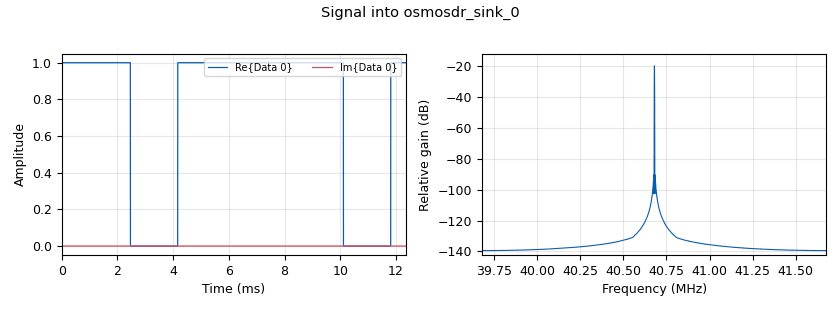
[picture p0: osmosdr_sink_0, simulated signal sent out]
<?xml version='1.0' encoding='utf-8'?>
<?grc format='1' created='3.7.11'?>
<flow_graph>
<block>
<key>options</key>
<param><key>id</key><value>top_block</value></param>
<param><key>category</key><value>Custom</value></param>
<param><key>generate_options</key><value>wx_gui</value></param>
</block>
<block>
<key>variable</key>
<param><key>id</key><value>Vector_Value</value></param>
<param><key>comment</key><value>Stop</value></param>
<param><key>value</key><value>1,0,0</value></param>
</block>
<block>
<key>variable</key>
<param><key>id</key><value>Vector_Value</value></param>
<param><key>comment</key><value>Stop, Light</value></param>
<param><key>_enabled</key><value>0</value></param>
<param><key>value</key><value>1,1,1,0,0</value></param>
</block>
<block>
<key>variable</key>
<param><key>id</key><value>Vector_Value</value></param>
<param><key>comment</key><value>Stop, Buzzer</value></param>
<param><key>_enabled</key><value>0</value></param>
<param><key>value</key><value>1,1,1,1,1,0,0</value></param>
</block>
<block>
<key>variable</key>
<param><key>id</key><value>Vector_Value</value></param>
<param><key>comment</key><value>Fwd Slow, Buzzer</value></param>
<param><key>_enabled</key><value>0</value></param>
<param><key>value</key><value>1,1,1,1,1,1,1,1,1,1,1,0,0</value></param>
</block>
<block>
<key>variable</key>
<param><key>id</key><value>Vector_Value</value></param>
<param><key>comment</key><value>Fwd Slow, Light</value></param>
<param><key>_enabled</key><value>0</value></param>
<param><key>value</key><value>1,1,1,1,1,1,1,1,1,0,0</value></param>
</block>
<block>
<key>variable</key>
<param><key>id</key><value>Vector_Value</value></param>
<param><key>comment</key><value>Fwd Slow</value></param>
<param><key>_enabled</key><value>0</value></param>
<param><key>value</key><value>1,1,1,1,1,1,1,0,0</value></param>
</block>
<block>
<key>variable</key>
<param><key>id</key><value>Vector_Value</value></param>
<param><key>comment</key><value>Fwd Fast</value></param>
<param><key>_enabled</key><value>0</value></param>
<param><key>value</key><value>1,1,1,1,1,1,1,1,1,1,1,1,1,0,0</value></param>
</block>
<block>
<key>variable</key>
<param><key>id</key><value>Vector_Value</value></param>
<param><key>comment</key><value>Fwd Fast, Light</value></param>
<param><key>_enabled</key><value>0</value></param>
<param><key>value</key><value>1,1,1,1,1,1,1,1,1,1,1,1,1,1,1,0,0</value></param>
</block>
<block>
<key>variable</key>
<param><key>id</key><value>Vector_Value</value></param>
<param><key>comment</key><value>Fwd Fast, Buzzer</value></param>
<param><key>_enabled</key><value>0</value></param>
<param><key>value</key><value>1,1,1,1,1,1,1,1,1,1,1,1,1,1,1,1,1,0,0</value></param>
</block>
<block>
<key>variable</key>
<param><key>id</key><value>Vector_Value</value></param>
<param><key>comment</key><value>Back</value></param>
<param><key>_enabled</key><value>0</value></param>
<param><key>value</key><value>1,1,1,1,1,1,1,1,1,1,1,1,1,1,1,1,1,1,1,0,0</value></param>
</block>
<block>
<key>variable</key>
<param><key>id</key><value>Vector_Value</value></param>
<param><key>comment</key><value>Back, Buzzer</value></param>
<param><key>_enabled</key><value>0</value></param>
<param><key>value</key><value>1,1,1,1,1,1,1,1,1,1,1,1,1,1,1,1,1,1,1,1,1,1,1,0,0</value></param>
</block>
<block>
<key>variable</key>
<param><key>id</key><value>Vector_Value</value></param>
<param><key>comment</key><value>Back, Light</value></param>
<param><key>_enabled</key><value>0</value></param>
<param><key>value</key><value>1,1,1,1,1,1,1,1,1,1,1,1,1,1,1,1,1,1,1,1,1,0,0</value></param>
</block>
<block>
<key>variable</key>
<param><key>id</key><value>symbol_duration</value></param>
<param><key>value</key><value>0.00085</value></param>
</block>
<block>
<key>variable</key>
<param><key>id</key><value>target_freq</value></param>
<param><key>value</key><value>40.68e6</value></param>
</block>
<block>
<key>variable</key>
<param><key>id</key><value>target_rate</value></param>
<param><key>value</key><value>2000000</value></param>
</block>
<block>
<key>variable_text_box</key>
<param><key>id</key><value>variable_tb0</value></param>
<param><key>converver</key><value>float_converter</value></param>
<param><key>value</key><value>1,1,1,1,1,1,1,0,0</value></param>
<param><key>formatter</key><value>None</value></param>
<param><key>label</key><value></value></param>
</block>
<block>
<key>blocks_float_to_complex</key>
<param><key>id</key><value>blocks_float_to_complex_1</value></param>
</block>
<block>
<key>blocks_multiply_const_vxx</key>
<param><key>id</key><value>blocks_multiply_const_vxx_1</value></param>
<param><key>const</key><value>1</value></param>
<param><key>type</key><value>complex</value></param>
</block>
<block>
<key>blocks_repeat</key>
<param><key>id</key><value>blocks_repeat_0</value></param>
<param><key>interp</key><value>int(target_rate*symbol_duration)</value></param>
<param><key>type</key><value>float</value></param>
</block>
<block>
<key>blocks_throttle</key>
<param><key>id</key><value>blocks_throttle_0</value></param>
<param><key>samples_per_second</key><value>target_rate</value></param>
<param><key>type</key><value>complex</value></param>
</block>
<block>
<key>blocks_vector_source_x</key>
<param><key>id</key><value>blocks_vector_source_x_0</value></param>
<param><key>type</key><value>float</value></param>
<param><key>repeat</key><value>True</value></param>
<param><key>vector</key><value>variable_tb0</value></param>
</block>
<block>
<key>osmosdr_sink</key>
<param><key>id</key><value>osmosdr_sink_0</value></param>
<param><key>bb_gain0</key><value>20</value></param>
<param><key>freq0</key><value>target_freq</value></param>
<param><key>if_gain0</key><value>20</value></param>
<param><key>gain0</key><value>10</value></param>
<param><key>args</key><value></value></param>
<param><key>type</key><value>fc32</value></param>
<param><key>sample_rate</key><value>target_rate</value></param>
<param><key>sync</key><value></value></param>
</block>
<connection><source_block_id>blocks_float_to_complex_1</source_block_id><sink_block_id>blocks_multiply_const_vxx_1</sink_block_id><source_key>0</source_key><sink_key>0</sink_key></connection>
<connection><source_block_id>blocks_multiply_const_vxx_1</source_block_id><sink_block_id>blocks_throttle_0</sink_block_id><source_key>0</source_key><sink_key>0</sink_key></connection>
<connection><source_block_id>blocks_repeat_0</source_block_id><sink_block_id>blocks_float_to_complex_1</sink_block_id><source_key>0</source_key><sink_key>0</sink_key></connection>
<connection><source_block_id>blocks_throttle_0</source_block_id><sink_block_id>osmosdr_sink_0</sink_block_id><source_key>0</source_key><sink_key>0</sink_key></connection>
<connection><source_block_id>blocks_vector_source_x_0</source_block_id><sink_block_id>blocks_repeat_0</sink_block_id><source_key>0</source_key><sink_key>0</sink_key></connection>
</flow_graph>
